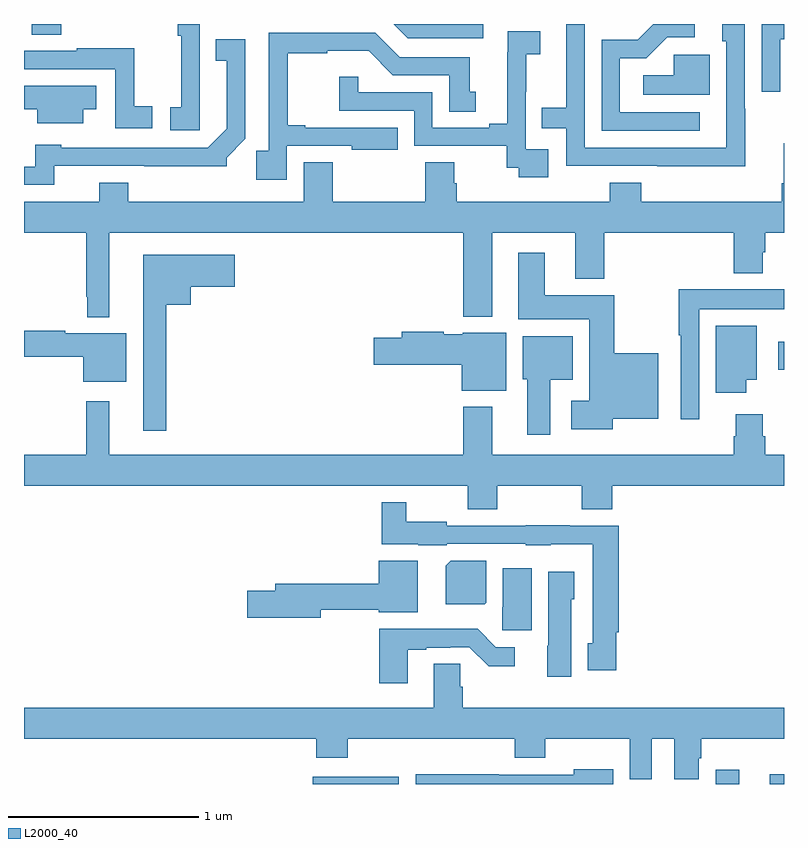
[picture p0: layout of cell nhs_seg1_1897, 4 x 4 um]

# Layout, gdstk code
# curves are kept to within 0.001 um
import gdstk
lib = gdstk.Library(unit=1e-6, precision=1e-09)
def R(c, l, rs):  # rectangles x0, y0, x1, y1
    for r in rs: c.add(gdstk.rectangle(r[:2], r[2:], *l))
def P(c, l, *ps):  # polygons
    for p in ps: c.add(gdstk.Polygon(p, *l))
L2000_40 = (2000, 40)

nhs_seg1_1897 = lib.new_cell('nhs_seg1_1897')
R(nhs_seg1_1897, L2000_40, [(216.521,514.199,216.972,514.237), (218.642,514.199,218.764,514.273), (218.925,514.199,219,514.25), (218.969,516.379,219,516.526), (215.042,518.143,215.195,518.199)])
P(nhs_seg1_1897, L2000_40, [(218.795,517.754),(218.793,517.754),(218.793,518.199),(218.675,518.199),(218.675,518.109),(218.697,518.109),(218.697,517.548),(217.95,517.548),(217.95,518.199),(217.853,518.199),(217.853,517.759),(217.726,517.759),(217.726,517.65),(217.854,517.65),(217.854,517.452),(218.332,517.452),(218.332,517.451),(218.795,517.451)],
  [(217.416,518.199),(216.945,518.199),(217.02,518.124),(217.416,518.124)],
  [(215.926,517.916),(215.925,517.916),(215.925,518.199),(215.809,518.199),(215.809,518.137),(215.827,518.137),(215.827,517.761),(215.769,517.761),(215.769,517.641),(215.926,517.641)],
  [(218.557,517.734),(218.136,517.734),(218.136,518.019),(218.274,518.019),(218.385,518.13),(218.53,518.13),(218.53,518.199),(218.313,518.199),(218.229,518.115),(218.04,518.115),(218.04,517.638),(218.557,517.638)],
  [(218.979,518.118),(219,518.118),(219,518.199),(218.883,518.199),(218.883,517.842),(218.979,517.842)],
  [(217.759,517.539),(217.641,517.539),(217.641,517.843),(217.643,517.843),(217.643,518.041),(217.717,518.041),(217.717,518.162),(217.546,518.162),(217.546,518.051),(217.544,518.051),(217.544,517.673),(217.448,517.673),(217.448,517.653),(217.149,517.653),(217.149,517.839),(216.759,517.839),(216.759,517.921),(216.658,517.921),(216.658,517.743),(217.053,517.743),(217.053,517.557),(217.54,517.557),(217.54,517.443),(217.603,517.443),(217.603,517.392),(217.759,517.392)],
  [(216.384,517.557),(216.725,517.557),(216.725,517.538),(216.968,517.538),(216.968,517.653),(216.481,517.653),(216.481,517.666),(216.389,517.666),(216.389,518.046),(216.596,518.046),(216.596,518.057),(216.814,518.057),(216.942,517.929),(217.238,517.929),(217.238,517.738),(217.378,517.738),(217.378,517.842),(217.345,517.842),(217.345,518.025),(216.978,518.025),(216.849,518.154),(216.288,518.154),(216.288,517.531),(216.223,517.531),(216.223,517.38),(216.384,517.38)],
  [(215.16,517.452),(216.066,517.451),(216.066,517.495),(216.165,517.594),(216.165,518.119),(216.01,518.119),(216.01,518.006),(216.068,518.006),(216.068,517.649),(215.967,517.548),(215.196,517.548),(215.196,517.564),(215.06,517.564),(215.06,517.449),(215,517.449),(215,517.353),(215.16,517.353)],
  [(215.674,517.766),(215.58,517.766),(215.58,518.071),(215.278,518.071),(215.278,518.058),(215,518.058),(215,517.962),(215.481,517.962),(215.481,517.65),(215.674,517.65)],
  [(218.608,518.037),(218.421,518.037),(218.421,517.93),(218.259,517.93),(218.259,517.826),(218.608,517.826)],
  [(215.311,517.751),(215.38,517.751),(215.38,517.873),(215,517.873),(215,517.751),(215.069,517.751),(215.069,517.676),(215.311,517.676)],
  [(215.449,517.1),(217.313,517.1),(217.313,516.659),(217.465,516.659),(217.465,517.1),(217.901,517.1),(217.901,516.857),(218.054,516.857),(218.054,517.1),(218.735,517.1),(218.735,516.887),(218.887,516.887),(218.887,516.999),(218.9,516.999),(218.9,517.1),(219,517.1),(219,517.572),(218.999,517.572),(218.999,517.36),(218.987,517.36),(218.987,517.264),(218.249,517.264),(218.249,517.363),(218.084,517.363),(218.084,517.264),(217.277,517.264),(217.277,517.362),(217.264,517.362),(217.264,517.472),(217.112,517.472),(217.112,517.264),(216.626,517.264),(216.626,517.472),(216.473,517.472),(216.473,517.264),(215.549,517.264),(215.549,517.363),(215.396,517.363),(215.396,517.264),(215,517.264),(215,517.1),(215.328,517.1),(215.328,516.763),(215.334,516.763),(215.334,516.656),(215.449,516.656)],
  [(218.098,516.122),(218.338,516.122),(218.338,516.466),(218.106,516.466),(218.106,516.772),(217.741,516.772),(217.741,516.996),(217.601,516.996),(217.601,516.644),(217.976,516.644),(217.976,516.217),(217.881,516.217),(217.881,516.065),(218.098,516.065)],
  [(215.749,516.722),(215.878,516.722),(215.878,516.815),(216.109,516.815),(216.109,516.985),(215.627,516.985),(215.627,516.057),(215.749,516.057)],
  [(218.553,516.698),(219,516.698),(219,516.802),(218.445,516.802),(218.445,516.562),(218.457,516.562),(218.457,516.12),(218.553,516.12)],
  [(218.8,516.326),(218.857,516.326),(218.857,516.61),(218.642,516.61),(218.642,516.258),(218.8,516.258)],
  [(215.539,516.571),(215.216,516.571),(215.216,516.584),(215,516.584),(215,516.448),(215.312,516.448),(215.312,516.317),(215.539,516.317)],
  [(217.537,516.574),(217.308,516.574),(217.308,516.565),(217.208,516.565),(217.208,516.578),(216.989,516.578),(216.989,516.548),(216.84,516.548),(216.84,516.406),(217.304,516.406),(217.304,516.269),(217.537,516.269)],
  [(217.771,516.326),(217.888,516.326),(217.888,516.556),(217.625,516.556),(217.625,516.33),(217.649,516.33),(217.649,516.036),(217.771,516.036)],
  [(217.491,515.768),(217.936,515.768),(217.936,515.644),(218.096,515.644),(218.096,515.768),(219,515.768),(219,515.932),(218.9,515.932),(218.9,516.03),(218.887,516.03),(218.887,516.145),(218.747,516.145),(218.747,516.03),(218.735,516.03),(218.735,515.932),(217.465,515.932),(217.465,516.184),(217.313,516.184),(217.313,515.932),(215.449,515.932),(215.449,516.214),(215.328,516.214),(215.328,515.932),(215,515.932),(215,515.768),(217.336,515.768),(217.336,515.644),(217.491,515.644)],
  [(218.117,514.998),(218.129,514.998),(218.129,515.559),(217.873,515.559),(217.873,515.561),(217.641,515.561),(217.641,515.559),(217.224,515.559),(217.224,515.578),(217.012,515.578),(217.012,515.683),(216.883,515.683),(216.883,515.462),(217.074,515.462),(217.074,515.456),(217.224,515.456),(217.224,515.463),(217.641,515.463),(217.641,515.456),(217.773,515.456),(217.773,515.462),(217.994,515.462),(217.994,514.941),(217.967,514.941),(217.967,514.797),(218.117,514.797)],
  [(216.562,515.116),(216.866,515.116),(216.866,515.102),(217.072,515.102),(217.072,515.374),(216.866,515.374),(216.866,515.252),(216.323,515.252),(216.323,515.216),(216.174,515.216),(216.174,515.074),(216.562,515.074)],
  [(217.432,515.152),(217.432,515.374),(217.246,515.374),(217.22,515.348),(217.22,515.144),(217.424,515.144)],
  [(217.672,515.335),(217.52,515.335),(217.52,515.13),(217.516,515.13),(217.516,515.007),(217.672,515.007)],
  [(217.879,515.172),(217.897,515.172),(217.897,515.317),(217.76,515.317),(217.76,514.926),(217.754,514.926),(217.754,514.764),(217.879,514.764)],
  [(217.021,514.905),(217.117,514.905),(217.117,514.917),(217.244,514.917),(217.244,514.92),(217.344,514.92),(217.447,514.818),(217.582,514.818),(217.582,514.92),(217.482,514.92),(217.387,515.015),(216.869,515.015),(216.869,514.728),(217.021,514.728)],
  [(218.305,514.436),(218.423,514.436),(218.423,514.225),(218.551,514.225),(218.551,514.335),(218.564,514.335),(218.564,514.436),(219,514.436),(219,514.6),(217.31,514.6),(217.31,514.71),(217.296,514.71),(217.296,514.832),(217.157,514.832),(217.157,514.6),(215,514.6),(215,514.436),(216.539,514.436),(216.539,514.337),(216.704,514.337),(216.704,514.436),(217.583,514.436),(217.583,514.337),(217.743,514.337),(217.743,514.436),(218.189,514.436),(218.189,514.225),(218.305,514.225)],
  [(218.1,514.276),(217.893,514.276),(217.893,514.248),(217.499,514.248),(217.499,514.25),(217.061,514.25),(217.061,514.199),(218.1,514.199)])

lib.write_gds('nhs_seg1_1897.gds')
